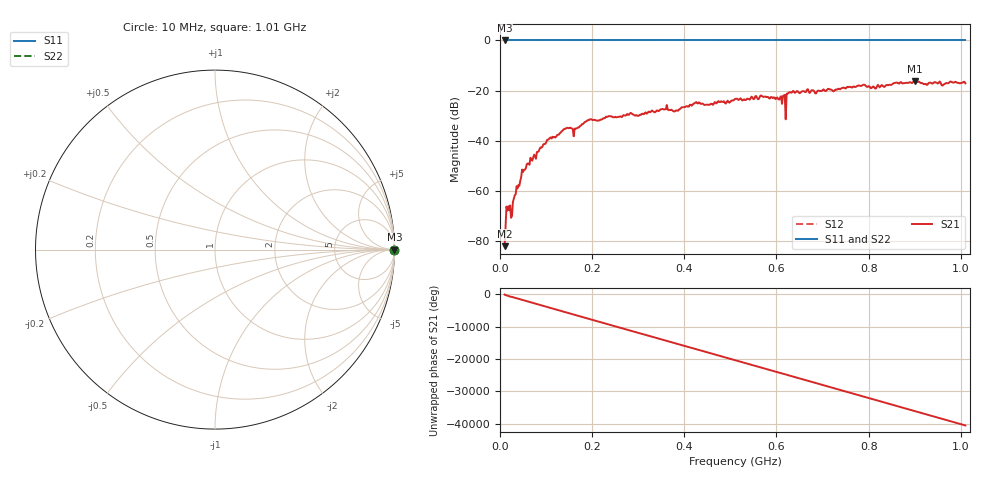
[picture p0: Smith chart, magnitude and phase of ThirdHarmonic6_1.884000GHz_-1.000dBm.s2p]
! 8/16/2025 10:45:37 PM
! C:\ANRITSUVNA\TEMP\TEMP.S2P
! CHANNEL.1
! TR.MEASUREMENT
! RAW.DATA
! RF.CORRECTION.OFF
! AVERAGING.OFF
! IF.BANDWIDTH: 5KHZ
! SWEEPTYPE:  FREQ.SWEEP(Linear)
! Reference Plane Port Info
! PORT:  PORT1  PORT2
! DISTANCE:  0  m  0  m
! TIME:  0  s  0  s
! PHASE.OFFSET:  0  deg.  0  deg.
! LOSS:  0  dB  0  dB
! REF.LOSS:  0  dB  0  dB
! REF.FREQ:  0  Hz  0  Hz
! Power Info
! POWER:  -20  dBm  -20  dBm
! EFF.POWER:  -20  dBm  -20  dBm
! SOURCE.ATTEN:  0  dB  0  dB
! TEST.ATTEN:  0  dB  0  dB
# GHZ S RI R 50.0
! FREQ.GHZ  S11RE  S11IM  S21RE  S21IM  S12RE  S12IM  S22RE  S22IM
!; PortSelection: Port_12
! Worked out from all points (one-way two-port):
!   501 points, 10 MHz to 1.01 GHz, reference 50 ohm
!   highest |S21| = -16.18 dB at 900 MHz (marker M1); lowest = -82.0 dB at 10 MHz (marker M2)
!   lowest |S11| = 0.0 dB at 10 MHz (marker M3)
!   |S11| at or under -10 dB: nowhere
!   |S22| runs from 0.0 to 0.0 dB; largest |S21 - S12| = 1.1
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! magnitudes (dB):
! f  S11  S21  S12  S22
! 10 MHz  0.0  -82.0  0.0  0.0
! 18 MHz  0.0  -66.1  0.0  0.0
! 24 MHz  0.0  -70.7  0.0  0.0
! 48 MHz  0.0  -51.4  0.0  0.0
! 62 MHz  0.0  -49.1  0.0  0.0
! 106 MHz  0.0  -39.3  0.0  0.0
! 142 MHz  0.0  -35.2  0.0  0.0
! 164 MHz  0.0  -35.1  0.0  0.0
! 178 MHz  0.0  -33.3  0.0  0.0
! 194 MHz  0.0  -31.5  0.0  0.0
! 344 MHz  0.0  -28.2  0.0  0.0
! 382 MHz  0.0  -27.9  0.0  0.0
! 424 MHz  0.0  -24.8  0.0  0.0
! 510 MHz  0.0  -23.3  0.0  0.0
! 614 MHz  0.0  -22.1  0.0  0.0
! 616 MHz  0.0  -21.9  0.0  0.0
! 624 MHz  0.0  -21.2  0.0  0.0
! 626 MHz  0.0  -20.9  0.0  0.0
! 678 MHz  0.0  -19.9  0.0  0.0
! 844 MHz  0.0  -17.7  0.0  0.0
! 900 MHz  0.0  -16.2  0.0  0.0
! 1.01 GHz  0.0  -17.1  0.0  0.0
